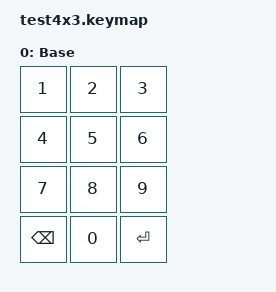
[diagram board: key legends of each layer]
/*
 * Copyright (c) 2020 The ZMK Contributors
 *
 * SPDX-License-Identifier: MIT
 */

#include <behaviors.dtsi>
#include <dt-bindings/zmk/keys.h>
#include <dt-bindings/zmk/bt.h>
#include <dt-bindings/zmk/outputs.h>

/ {
    behaviors {

        /* &slt 1 LSHIFT */
        slt: sticky_layer_tap {
            compatible = "zmk,behavior-hold-tap";
            #binding-cells = <2>;
            flavor = "tap-preferred";
            tapping-term-ms = <200>;
            bindings = <&mo>, <&sk>;
            display-name = "Sticky Layer-Tap";
        };

        lc: layer_change {
            compatible = "zmk,behavior-hold-tap";
            #binding-cells = <2>;
            flavor = "hold-preferred";
            tapping-term-ms = <200>;
            quick-tap-ms = <200>;
            require-prior-idle-ms = <125>;
            bindings = <&to>, <&kp>;
            display-name = "Layer-change";
        };

        /**
        * Temporarily switches to a layer (`&mo`) while a modifier is held.
        * Analogous to QMK's `LM()`, using a parameterized macro.
        *
        * Params:
        *  1. Layer to switch to
        *  2. Modifier to press while layer is active
        *
        * Example:
        *  `&lm NUM_LAYER LSHIFT`
        */
        lm: lm {
            compatible = "zmk,behavior-macro-two-param";
            wait-ms = <0>;
            tap-ms = <0>;
            #binding-cells = <2>;
            bindings
                = <&macro_param_1to1>
                , <&macro_press &mo MACRO_PLACEHOLDER>
                , <&macro_param_2to1>
                , <&macro_press &kp MACRO_PLACEHOLDER>
                , <&macro_pause_for_release>
                , <&macro_param_2to1>
                , <&macro_release &kp MACRO_PLACEHOLDER>
                , <&macro_param_1to1>
                , <&macro_release &mo MACRO_PLACEHOLDER>
                ;
            display-name = "Layer Macro";
        };
    };

    keymap {
        compatible = "zmk,keymap";

        default_layer {
            display-name = "Base";
            bindings = <
                &kp N1   &kp N2   &kp N3
                &kp N4   &kp N5   &kp N6
                &kp N7   &kp N8   &kp N9
                &kp BSPC &kp N0   &kp RET
            >;
        };

    };
};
